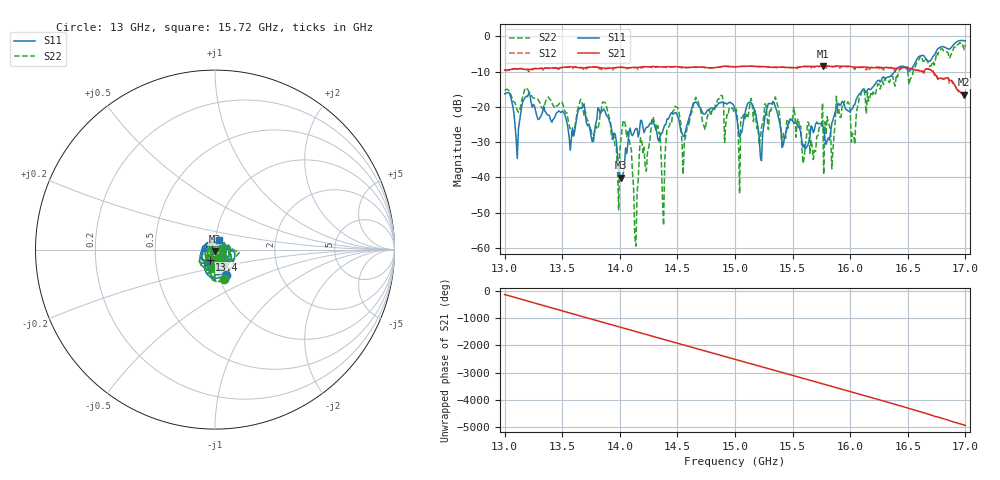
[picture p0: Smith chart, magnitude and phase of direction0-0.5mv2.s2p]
!Keysight Technologies,P9374A,MY57211810,A.19.30.04
!Date: Friday, May 02, 2025 10:38:08
!Correction: S11(C* 2-Port  )
!S21(C* 2-Port  )
!S12(C* 2-Port  )
!S22(C* 2-Port  )
!S2P File: Measurements: S11, S21, S12, S22:
# Hz S  dB  R 50
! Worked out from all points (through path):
!   401 points, 13 GHz to 17 GHz, reference 50 ohm
!   highest |S21| = -8.38 dB at 15.76 GHz (marker M1); lowest = -16.5 dB at 16.99 GHz (marker M2)
!   lowest |S11| = -40.1 dB at 14.01 GHz (marker M3), VSWR 1.02, Z = 50.1 - j0.983 ohm
!   |S11| at or under -10 dB: start of sweep to 16.39 GHz
!   |S22| runs from -59.5 to -1.7 dB; largest |S21 - S12| = 0.042
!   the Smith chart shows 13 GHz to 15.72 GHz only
!   S11 on the Smith chart (normalised r, x): 13 GHz: 1.09, -0.31; 13.4 GHz: 0.94, -0.11; 15.72 GHz: 1.04, +0.11
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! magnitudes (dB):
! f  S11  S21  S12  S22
! 13 GHz  -16.3  -9.5  -9.5  -15.3
! 13.11 GHz  -34.6  -9.3  -9.7  -20.9
! 13.2 GHz  -17.1  -9.3  -9.4  -15.0
! 13.4 GHz  -23.7  -8.9  -9.0  -18.0
! 13.67 GHz  -20.4  -8.9  -8.8  -18.2
! 13.88 GHz  -22.0  -9.0  -9.1  -19.3
! 14.01 GHz  -40.1  -8.7  -8.7  -29.1
! 14.06 GHz  -33.3  -8.9  -9.2  -28.6
! 14.14 GHz  -26.1  -8.8  -8.8  -59.5
! 14.19 GHz  -23.8  -8.6  -9.0  -29.3
! 14.34 GHz  -29.8  -8.6  -8.6  -27.6
! 14.38 GHz  -26.1  -8.7  -8.6  -53.7
! 14.48 GHz  -21.6  -8.6  -8.6  -19.8
! 14.56 GHz  -28.5  -8.8  -8.8  -29.9
! 14.66 GHz  -18.5  -8.7  -8.8  -17.2
! 15 GHz  -20.7  -8.6  -8.6  -21.4
! 15.67 GHz  -25.7  -8.5  -8.7  -31.4
! 15.72 GHz  -24.8  -8.5  -8.6  -28.1
! 15.76 GHz  -25.4  -8.4  -8.3  -18.9
! 16.34 GHz  -11.5  -8.9  -8.9  -13.1
! 16.99 GHz  -1.2  -16.5  -17.1  -3.7
! 17 GHz  -1.2  -15.8  -15.8  -2.3
